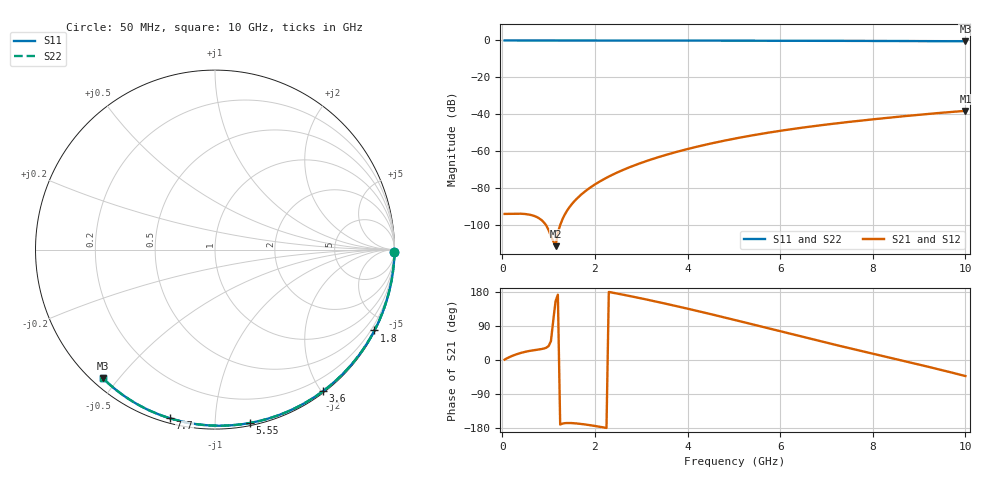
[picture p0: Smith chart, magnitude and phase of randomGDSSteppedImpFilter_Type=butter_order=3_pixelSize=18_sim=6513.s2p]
! freq	dB(S11)	phase(S11)	dB(S12)	phase(S12)
!  dB(S21)	phase(S21)	dB(S22)	phase(S22)
!S-par simulation data
#  GHz  S  DB  R 50
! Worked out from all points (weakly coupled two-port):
!   200 points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, 50 MHz to 10 GHz, reference 50 ohm
!   highest |S21| = -38.26 dB at 10 GHz (marker M1); lowest = -111.7 dB at 1.15 GHz (marker M2)
!   lowest |S11| = -0.4 dB at 10 GHz (marker M3), VSWR 39.29, Z = 1.53 - j22.7 ohm
!   |S11| at or under -10 dB: nowhere
!   |S22| runs from -0.4 to 0.0 dB; largest |S21 - S12| = 0
!   S11 on the Smith chart (normalised r, x): 50 MHz: open; 1.8 GHz: 0.04, -4.18; 3.6 GHz: 0.02, -2.02; 5.55 GHz: 0.02, -1.22; 7.7 GHz: 0.02, -0.77; 10 GHz: 0.03, -0.45
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0.05  -0.00 -0.8  -94.22 0.9  -94.22 0.9  -0.00 -0.8
0.6  -0.01 -9.1  -94.69 24.2  -94.69 24.2  -0.01 -9.1
1.15  -0.02 -17.3  -111.74 155.0  -111.74 155.0  -0.02 -17.3
1.75  -0.03 -26.2  -82.74 -169.5  -82.74 -169.5  -0.03 -26.2
1.8  -0.03 -26.9  -81.73 -170.3  -81.73 -170.3  -0.03 -26.9
1.9  -0.04 -28.4  -79.89 -172.1  -79.89 -172.1  -0.04 -28.4
2.05  -0.04 -30.5  -77.43 -175.0  -77.43 -175.0  -0.04 -30.6
2.25  -0.04 -33.5  -74.58 -179.3  -74.58 -179.3  -0.04 -33.5
2.45  -0.05 -36.3  -72.09 176.1  -72.09 176.1  -0.05 -36.3
2.65  -0.05 -39.2  -69.87 171.3  -69.87 171.3  -0.05 -39.2
3  -0.06 -44.2  -66.49 162.6  -66.49 162.6  -0.06 -44.2
3.4  -0.07 -49.8  -63.17 152.0  -63.17 152.0  -0.07 -49.8
3.6  -0.07 -52.6  -61.68 146.6  -61.68 146.6  -0.07 -52.6
4.3  -0.09 -62.2  -57.14 126.9  -57.14 126.9  -0.09 -62.2
5.05  -0.11 -72.1  -53.16 104.7  -53.16 104.7  -0.11 -72.1
5.55  -0.13 -78.6  -50.90 89.6  -50.90 89.6  -0.13 -78.6
6.1  -0.15 -85.5  -48.71 72.8  -48.71 72.8  -0.15 -85.5
6.7  -0.18 -92.9  -46.63 54.6  -46.63 54.6  -0.18 -92.9
7.7  -0.24 -104.9  -43.66 25.3  -43.66 25.3  -0.24 -104.9
8.35  -0.29 -112.5  -41.95 6.7  -41.95 6.7  -0.29 -112.5
9.15  -0.36 -121.6  -40.02 -16.5  -40.02 -16.5  -0.36 -121.6
10  -0.44 -131.2  -38.26 -42.4  -38.26 -42.4  -0.44 -131.2
